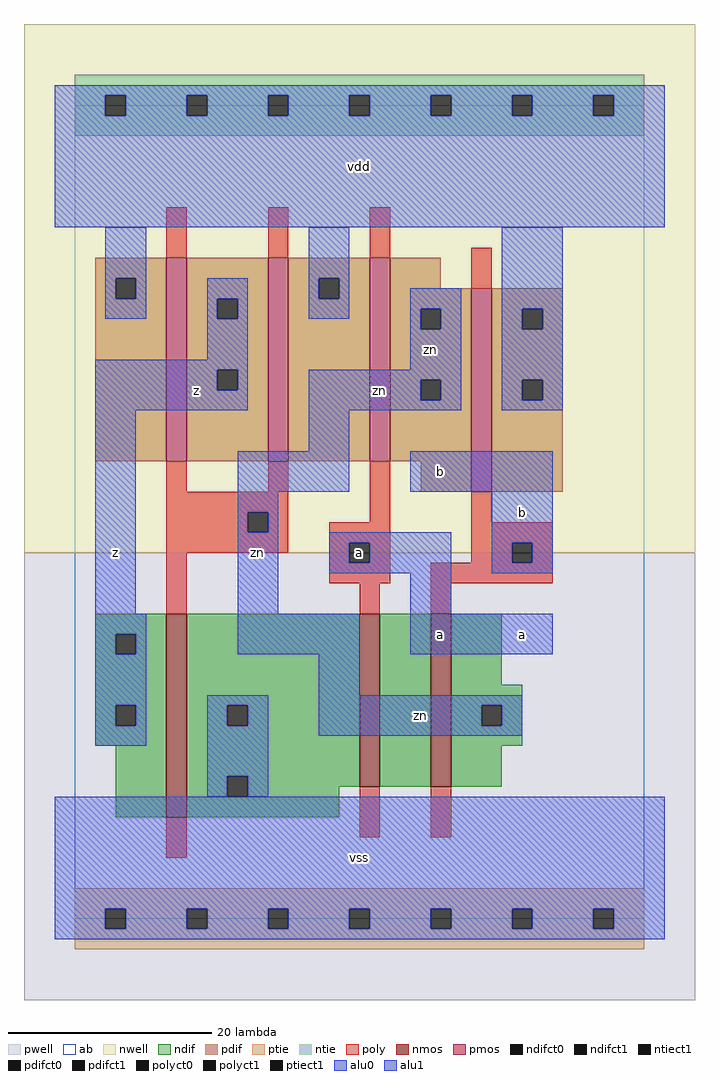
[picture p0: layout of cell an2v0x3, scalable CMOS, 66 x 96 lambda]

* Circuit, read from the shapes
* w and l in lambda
.subckt an2v0x3 a b vdd vss z zn
M1 vss zn z vss nfet w=20 l=2
M2 n1 a vss vss nfet w=17 l=2
M3 zn b n1 vss nfet w=17 l=2
M4 z zn vdd vdd pfet w=20 l=2 m=2
M5 zn a vdd vdd pfet w=20 l=2
M6 vdd b zn vdd pfet w=20 l=2
.ends

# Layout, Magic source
magic
tech scmos
<< ab >>
rect 0 0 56 80
<< nwell >>
rect -5 36 61 88
<< pwell >>
rect -5 -8 61 36
<< poly >>
rect 9 65 11 70
rect 19 65 21 70
rect 29 65 31 70
rect 39 62 41 66
rect 9 42 11 45
rect 19 42 21 45
rect 9 40 21 42
rect 9 38 17 40
rect 19 38 21 40
rect 29 39 31 45
rect 9 36 21 38
rect 25 37 31 39
rect 9 30 11 36
rect 25 35 27 37
rect 29 35 31 37
rect 39 39 41 42
rect 39 37 47 39
rect 39 35 43 37
rect 45 35 47 37
rect 25 33 31 35
rect 35 33 47 35
rect 28 30 30 33
rect 35 30 37 33
rect 9 6 11 10
rect 28 8 30 13
rect 35 8 37 13
<< ndif >>
rect 2 28 9 30
rect 2 26 4 28
rect 6 26 9 28
rect 2 21 9 26
rect 2 19 4 21
rect 6 19 9 21
rect 2 17 9 19
rect 4 10 9 17
rect 11 21 28 30
rect 11 19 15 21
rect 17 19 28 21
rect 11 14 28 19
rect 11 12 15 14
rect 17 13 28 14
rect 30 13 35 30
rect 37 23 42 30
rect 37 21 44 23
rect 37 19 40 21
rect 42 19 44 21
rect 37 17 44 19
rect 37 13 42 17
rect 17 12 26 13
rect 11 10 26 12
<< pdif >>
rect 2 63 9 65
rect 2 61 4 63
rect 6 61 9 63
rect 2 45 9 61
rect 11 61 19 65
rect 11 59 14 61
rect 16 59 19 61
rect 11 54 19 59
rect 11 52 14 54
rect 16 52 19 54
rect 11 45 19 52
rect 21 63 29 65
rect 21 61 24 63
rect 26 61 29 63
rect 21 45 29 61
rect 31 62 36 65
rect 31 60 39 62
rect 31 58 34 60
rect 36 58 39 60
rect 31 53 39 58
rect 31 51 34 53
rect 36 51 39 53
rect 31 45 39 51
rect 34 42 39 45
rect 41 60 48 62
rect 41 58 44 60
rect 46 58 48 60
rect 41 53 48 58
rect 41 51 44 53
rect 46 51 48 53
rect 41 42 48 51
<< alu1 >>
rect -2 81 58 82
rect -2 79 3 81
rect 5 79 11 81
rect 13 79 19 81
rect 21 79 27 81
rect 29 79 35 81
rect 37 79 43 81
rect 45 79 51 81
rect 53 79 58 81
rect -2 68 58 79
rect 13 61 17 63
rect 13 59 14 61
rect 16 59 17 61
rect 13 55 17 59
rect 2 54 17 55
rect 2 52 14 54
rect 16 52 17 54
rect 2 50 17 52
rect 2 30 6 50
rect 33 42 47 46
rect 25 37 37 38
rect 25 35 27 37
rect 29 35 37 37
rect 25 34 37 35
rect 41 37 47 42
rect 41 35 43 37
rect 45 35 47 37
rect 41 34 47 35
rect 33 30 37 34
rect 2 28 7 30
rect 2 26 4 28
rect 6 26 7 28
rect 33 26 47 30
rect 2 21 7 26
rect 2 19 4 21
rect 6 19 7 21
rect 2 17 7 19
rect -2 1 58 12
rect -2 -1 3 1
rect 5 -1 11 1
rect 13 -1 19 1
rect 21 -1 27 1
rect 29 -1 35 1
rect 37 -1 43 1
rect 45 -1 51 1
rect 53 -1 58 1
rect -2 -2 58 -1
<< ptie >>
rect 0 1 56 3
rect 0 -1 3 1
rect 5 -1 11 1
rect 13 -1 19 1
rect 21 -1 27 1
rect 29 -1 35 1
rect 37 -1 43 1
rect 45 -1 51 1
rect 53 -1 56 1
rect 0 -3 56 -1
<< ntie >>
rect 0 81 56 83
rect 0 79 3 81
rect 5 79 11 81
rect 13 79 19 81
rect 21 79 27 81
rect 29 79 35 81
rect 37 79 43 81
rect 45 79 51 81
rect 53 79 56 81
rect 0 77 56 79
<< nmos >>
rect 9 10 11 30
rect 28 13 30 30
rect 35 13 37 30
<< pmos >>
rect 9 45 11 65
rect 19 45 21 65
rect 29 45 31 65
rect 39 42 41 62
<< polyct0 >>
rect 17 38 19 40
<< polyct1 >>
rect 27 35 29 37
rect 43 35 45 37
<< ndifct0 >>
rect 15 19 17 21
rect 15 12 17 14
rect 40 19 42 21
<< ndifct1 >>
rect 4 26 6 28
rect 4 19 6 21
<< ntiect1 >>
rect 3 79 5 81
rect 11 79 13 81
rect 19 79 21 81
rect 27 79 29 81
rect 35 79 37 81
rect 43 79 45 81
rect 51 79 53 81
<< ptiect1 >>
rect 3 -1 5 1
rect 11 -1 13 1
rect 19 -1 21 1
rect 27 -1 29 1
rect 35 -1 37 1
rect 43 -1 45 1
rect 51 -1 53 1
<< pdifct0 >>
rect 4 61 6 63
rect 24 61 26 63
rect 34 58 36 60
rect 34 51 36 53
rect 44 58 46 60
rect 44 51 46 53
<< pdifct1 >>
rect 14 59 16 61
rect 14 52 16 54
<< alu0 >>
rect 3 63 7 68
rect 23 63 27 68
rect 3 61 4 63
rect 6 61 7 63
rect 3 59 7 61
rect 23 61 24 63
rect 26 61 27 63
rect 23 59 27 61
rect 33 60 38 62
rect 33 58 34 60
rect 36 58 38 60
rect 33 54 38 58
rect 23 53 38 54
rect 23 51 34 53
rect 36 51 38 53
rect 23 50 38 51
rect 42 60 48 68
rect 42 58 44 60
rect 46 58 48 60
rect 42 53 48 58
rect 42 51 44 53
rect 46 51 48 53
rect 42 50 48 51
rect 23 46 27 50
rect 16 42 27 46
rect 16 40 20 42
rect 16 38 17 40
rect 19 38 20 40
rect 16 30 20 38
rect 16 26 28 30
rect 24 22 28 26
rect 13 21 19 22
rect 13 19 15 21
rect 17 19 19 21
rect 13 14 19 19
rect 24 21 44 22
rect 24 19 40 21
rect 42 19 44 21
rect 24 18 44 19
rect 13 12 15 14
rect 17 12 19 14
<< labels >>
rlabel alu0 18 36 18 36 6 zn
rlabel alu0 30 52 30 52 6 zn
rlabel alu0 35 56 35 56 6 zn
rlabel alu0 34 20 34 20 6 zn
rlabel alu1 4 36 4 36 6 z
rlabel alu1 12 52 12 52 6 z
rlabel alu1 28 6 28 6 6 vss
rlabel polyct1 28 36 28 36 6 a
rlabel alu1 36 28 36 28 6 a
rlabel alu1 36 44 36 44 6 b
rlabel alu1 28 74 28 74 6 vdd
rlabel alu1 44 28 44 28 6 a
rlabel alu1 44 40 44 40 6 b
<< end >>
